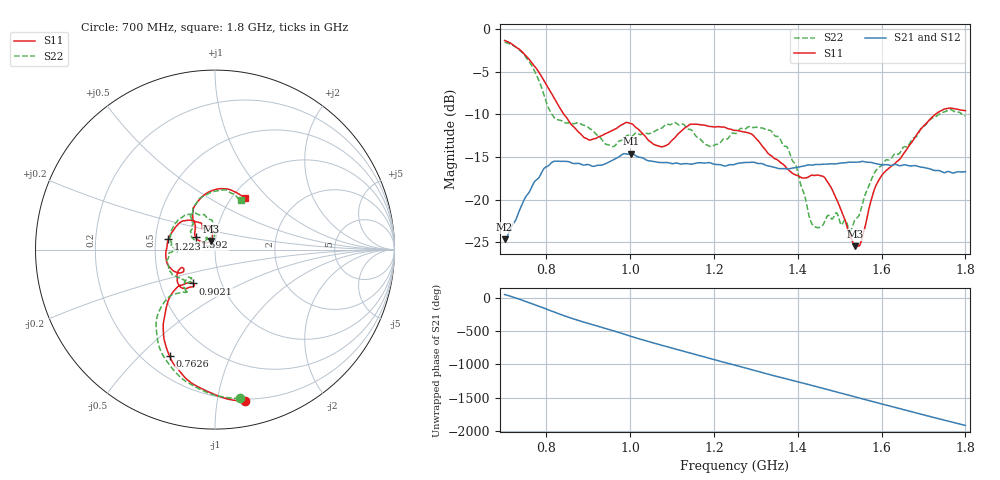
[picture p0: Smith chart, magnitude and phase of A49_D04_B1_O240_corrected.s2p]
! Created with skrf 1.9.0 (http://scikit-rf.org).
# Hz S RI R 50.0
!freq ReS11 ImS11 ReS21 ImS21 ReS12 ImS12 ReS22 ImS22
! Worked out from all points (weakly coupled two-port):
!   1601 points, 700 MHz to 1.8 GHz, reference 50 ohm
!   highest |S21| = -14.58 dB at 1.002 GHz (marker M1); lowest = -24.6 dB at 700 MHz (marker M2)
!   lowest |S11| = -25.5 dB at 1.537 GHz (marker M3), VSWR 1.11, Z = 47.6 + j4.64 ohm
!   |S11| at or under -10 dB: 841.8 MHz to 1.728 GHz (886.2 MHz wide, 69 % of centre)
!   |S22| runs from -23.7 to -1.5 dB; largest |S21 - S12| = 0.0034
!   S11 on the Smith chart (normalised r, x): 700 MHz: 0.19, -1.20; 762.6 MHz: 0.30, -0.62; 902.1 MHz: 0.74, -0.29; 1.223 GHz: 0.58, +0.08; 1.592 GHz: 0.80, +0.11; 1.8 GHz: 1.14, +0.74
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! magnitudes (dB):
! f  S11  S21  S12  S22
! 700 MHz  -1.3  -24.6  -24.4  -1.5
! 762.6 MHz  -3.8  -18.8  -18.7  -4.1
! 818.2 MHz  -8.0  -15.5  -15.6  -10.4
! 883.6 MHz  -12.4  -15.9  -15.8  -11.2
! 902.1 MHz  -13.0  -15.9  -15.9  -11.6
! 956.4 MHz  -11.9  -15.4  -15.4  -13.7
! 1.002 GHz  -11.1  -14.6  -14.7  -12.6
! 1.067 GHz  -13.7  -15.6  -15.6  -11.7
! 1.144 GHz  -11.1  -15.8  -15.8  -11.8
! 1.19 GHz  -11.4  -15.7  -15.7  -13.7
! 1.223 GHz  -11.5  -16.0  -16.0  -12.8
! 1.25 GHz  -11.9  -15.8  -15.8  -12.2
! 1.355 GHz  -15.5  -16.4  -16.3  -12.7
! 1.395 GHz  -17.1  -16.2  -16.2  -16.0
! 1.434 GHz  -17.1  -15.9  -15.9  -22.8
! 1.474 GHz  -18.1  -15.8  -15.8  -21.8
! 1.537 GHz  -25.5  -15.6  -15.6  -22.3
! 1.551 GHz  -24.9  -15.5  -15.5  -21.1
! 1.592 GHz  -17.8  -15.8  -15.8  -16.3
! 1.617 GHz  -16.3  -15.9  -15.9  -15.4
! 1.731 GHz  -9.9  -16.6  -16.6  -10.2
! 1.8 GHz  -9.6  -16.7  -16.7  -10.1
